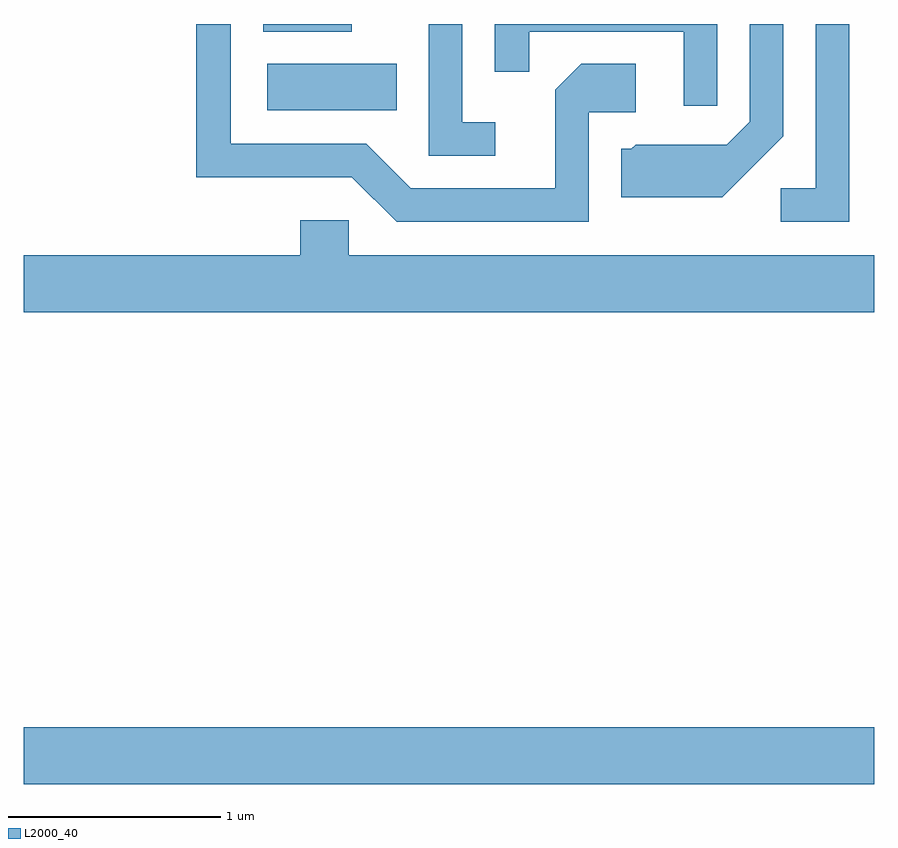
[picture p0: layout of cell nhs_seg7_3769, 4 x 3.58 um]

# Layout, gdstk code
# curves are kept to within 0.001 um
import gdstk
lib = gdstk.Library(unit=1e-6, precision=1e-09)
def R(c, l, rs):  # rectangles x0, y0, x1, y1
    for r in rs: c.add(gdstk.rectangle(r[:2], r[2:], *l))
def P(c, l, *ps):  # polygons
    for p in ps: c.add(gdstk.Polygon(p, *l))
L2000_40 = (2000, 40)

nhs_seg7_3769 = lib.new_cell('nhs_seg7_3769')
R(nhs_seg7_3769, L2000_40, [(299.611,1798.676,303.611,1798.944), (300.756,1801.846,301.364,1802.064), (300.736,1802.216,301.154,1802.252)])
P(nhs_seg7_3769, L2000_40, [(303.184,1801.724),(303.184,1802.252),(303.026,1802.252),(303.026,1801.792),(302.919,1801.684),(302.489,1801.684),(302.469,1801.664),(302.421,1801.664),(302.421,1801.436),(302.897,1801.436)],
  [(302.269,1801.836),(302.489,1801.836),(302.489,1802.064),(302.234,1802.064),(302.111,1801.942),(302.111,1801.479),(301.432,1801.479),(301.222,1801.689),(300.584,1801.689),(300.584,1802.252),(300.421,1802.252),(300.421,1801.531),(301.154,1801.531),(301.364,1801.321),(302.269,1801.321)],
  [(301.828,1801.789),(301.674,1801.789),(301.674,1802.252),(301.516,1802.252),(301.516,1801.631),(301.828,1801.631)],
  [(302.874,1802.252),(301.826,1802.252),(301.826,1802.028),(301.989,1802.028),(301.989,1802.216),(302.716,1802.216),(302.716,1801.868),(302.874,1801.868)],
  [(303.494,1802.252),(303.336,1802.252),(303.336,1801.479),(303.173,1801.479),(303.173,1801.321),(303.494,1801.321)],
  [(303.611,1801.164),(301.139,1801.164),(301.139,1801.329),(300.911,1801.329),(300.911,1801.164),(299.611,1801.164),(299.611,1800.896),(303.611,1800.896)])

lib.write_gds('nhs_seg7_3769.gds')
